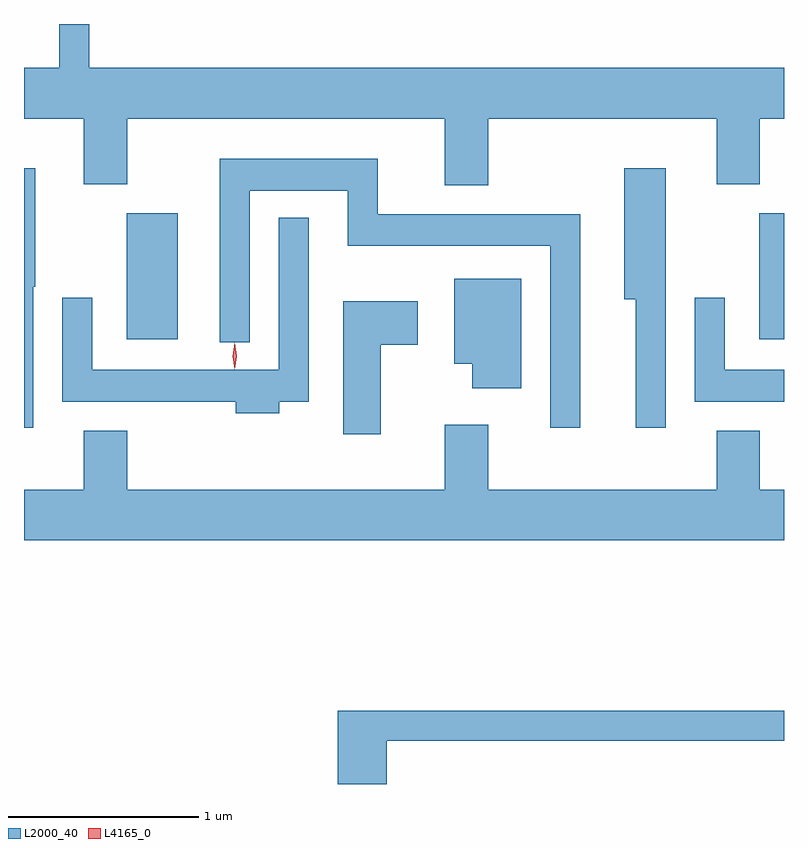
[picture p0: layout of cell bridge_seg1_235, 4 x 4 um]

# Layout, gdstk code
import gdstk
lib = gdstk.Library(unit=1e-6, precision=1e-09)
def R(c, l, rs):  # rectangles x0, y0, x1, y1
    for r in rs: c.add(gdstk.rectangle(r[:2], r[2:], *l))
def P(c, l, *ps):  # polygons
    for p in ps: c.add(gdstk.Polygon(p, *l))
L2000_40 = (2000, 40)
L4165_0 = (4165, 0)

bridge_seg1_235 = lib.new_cell('bridge_seg1_235')
R(bridge_seg1_235, L2000_40, [(830.206,873.996,830.474,874.659), (833.536,873.996,833.666,874.659)])
P(bridge_seg1_235, L2000_40, [(832.109,875.156),(833.311,875.156),(833.311,874.811),(833.539,874.811),(833.539,875.156),(833.666,875.156),(833.666,875.424),(830.009,875.424),(830.009,875.654),(829.851,875.654),(829.851,875.424),(829.666,875.424),(829.666,875.156),(829.981,875.156),(829.981,874.811),(830.209,874.811),(830.209,875.156),(831.881,875.156),(831.881,874.806),(832.109,874.806)],
  [(832.594,874.654),(831.529,874.654),(831.529,874.944),(830.696,874.944),(830.696,873.978),(830.854,873.978),(830.854,874.776),(831.371,874.776),(831.371,874.486),(832.436,874.486),(832.436,873.528),(832.594,873.528)],
  [(829.714,874.27),(829.724,874.27),(829.724,874.894),(829.666,874.894),(829.666,873.528),(829.714,873.528)],
  [(833.044,874.894),(832.826,874.894),(832.826,874.206),(832.886,874.206),(832.886,873.528),(833.044,873.528)],
  [(831.009,873.666),(831.164,873.666),(831.164,874.633),(831.006,874.633),(831.006,873.834),(830.024,873.834),(830.024,874.213),(829.866,874.213),(829.866,873.666),(830.781,873.666),(830.781,873.606),(831.009,873.606)],
  [(832.284,874.314),(831.931,874.314),(831.931,873.866),(832.026,873.866),(832.026,873.736),(832.284,873.736)],
  [(833.666,873.834),(833.354,873.834),(833.354,874.213),(833.196,874.213),(833.196,873.666),(833.666,873.666)],
  [(831.544,873.966),(831.739,873.966),(831.739,874.194),(831.346,874.194),(831.346,873.496),(831.544,873.496)],
  [(833.666,873.204),(833.539,873.204),(833.539,873.514),(833.311,873.514),(833.311,873.204),(832.109,873.204),(832.109,873.544),(831.881,873.544),(831.881,873.204),(830.209,873.204),(830.209,873.514),(829.981,873.514),(829.981,873.204),(829.666,873.204),(829.666,872.936),(833.666,872.936)],
  [(831.574,871.881),(833.666,871.881),(833.666,872.039),(831.316,872.039),(831.316,871.654),(831.574,871.654)])
P(bridge_seg1_235, L4165_0, [(830.774,873.837),(830.765,873.906),(830.774,873.976),(830.775,873.976),(830.775,873.976),(830.785,873.906),(830.775,873.837),(830.775,873.837)],
  [(830.774,873.839),(830.774,873.84),(830.764,873.906),(830.774,873.972),(830.774,873.973),(830.775,873.972),(830.784,873.906),(830.775,873.84)])

lib.write_gds('bridge_seg1_235.gds')
